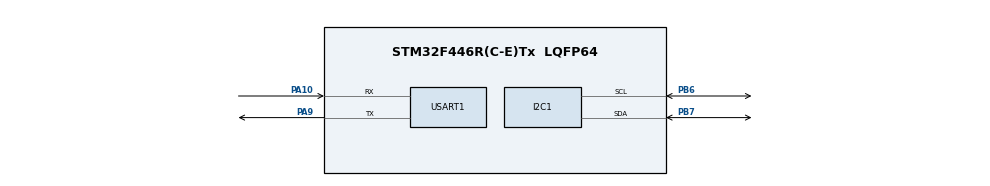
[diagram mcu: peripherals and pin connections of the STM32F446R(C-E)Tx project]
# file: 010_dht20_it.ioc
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Dma.I2C1_RX.0.Direction=DMA_PERIPH_TO_MEMORY
Dma.I2C1_RX.0.FIFOMode=DMA_FIFOMODE_DISABLE
Dma.I2C1_RX.0.Instance=DMA1_Stream0
Dma.I2C1_RX.0.MemDataAlignment=DMA_MDATAALIGN_BYTE
Dma.I2C1_RX.0.MemInc=DMA_MINC_ENABLE
Dma.I2C1_RX.0.Mode=DMA_NORMAL
Dma.I2C1_RX.0.PeriphDataAlignment=DMA_PDATAALIGN_BYTE
Dma.I2C1_RX.0.PeriphInc=DMA_PINC_DISABLE
Dma.I2C1_RX.0.Priority=DMA_PRIORITY_LOW
Dma.I2C1_TX.1.Direction=DMA_MEMORY_TO_PERIPH
Dma.I2C1_TX.1.FIFOMode=DMA_FIFOMODE_DISABLE
Dma.I2C1_TX.1.Instance=DMA1_Stream6
Dma.I2C1_TX.1.MemDataAlignment=DMA_MDATAALIGN_BYTE
Dma.I2C1_TX.1.MemInc=DMA_MINC_ENABLE
Dma.I2C1_TX.1.Mode=DMA_NORMAL
Dma.I2C1_TX.1.PeriphDataAlignment=DMA_PDATAALIGN_BYTE
Dma.I2C1_TX.1.PeriphInc=DMA_PINC_DISABLE
Dma.I2C1_TX.1.Priority=DMA_PRIORITY_LOW
Dma.Request0=I2C1_RX
Dma.Request1=I2C1_TX
Mcu.Family=STM32F4
Mcu.Name=STM32F446R(C-E)Tx
Mcu.Package=LQFP64
NVIC.DMA1_Stream0_IRQn=true\:0\:0\:false\:false\:true\:false\:true\:true
NVIC.DMA1_Stream6_IRQn=true\:0\:0\:false\:false\:true\:false\:true\:true
NVIC.I2C1_ER_IRQn=true\:0\:0\:false\:false\:true\:true\:true\:true
NVIC.I2C1_EV_IRQn=true\:0\:0\:false\:false\:true\:true\:true\:true
NVIC.PriorityGroup=NVIC_PRIORITYGROUP_4
NVIC.USART1_IRQn=true\:0\:0\:false\:false\:true\:true\:true\:true
PA10.Mode=Asynchronous
PA10.Signal=USART1_RX
PA9.Mode=Asynchronous
PA9.Signal=USART1_TX
PB6.Mode=I2C
PB6.Signal=I2C1_SCL
PB7.Mode=I2C
PB7.Signal=I2C1_SDA
ProjectManager.HeapSize=0x200
ProjectManager.StackSize=0x400
ProjectManager.TargetToolchain=STM32CubeIDE
RCC.CortexFreq_Value=16000000
RCC.USBFreq_Value=96000000
RCC.VCOOutputFreq_Value=192000000
USART1.VirtualMode=VM_ASYNC
board=custom

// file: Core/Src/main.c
/* USER CODE BEGIN Header */
/**
  ******************************************************************************
  * @file           : main.c
  * @brief          : Main program body
  ******************************************************************************
  * @attention
  *
  * Copyright (c) 2025 STMicroelectronics.
  * All rights reserved.
  *
  * This software is licensed under terms that can be found in the LICENSE file
  * in the root directory of this software component.
  * If no LICENSE file comes with this software, it is provided AS-IS.
  *
  ******************************************************************************
  */
/* USER CODE END Header */
#include "main.h"

/* USER CODE BEGIN Includes */
#include "driver_dht20.h"
#include "driver_dht20_interface.h"
/* USER CODE END Includes */

I2C_HandleTypeDef hi2c1;
DMA_HandleTypeDef hdma_i2c1_rx;
DMA_HandleTypeDef hdma_i2c1_tx;

UART_HandleTypeDef huart1;

/* USER CODE BEGIN PV */
RingBuffer txBuf, rxBuf;
dht20_handle_t dht20_handle;
/* USER CODE END PV */

void SystemClock_Config(void);
static void MX_GPIO_Init(void);
static void MX_DMA_Init(void);
static void MX_I2C1_Init(void);
static void MX_USART1_UART_Init(void);
/* USER CODE BEGIN PFP */
uint8_t dht20_basic_init(void);
uint8_t dht20_basic_deinit(void);
uint8_t dht20_basic_read(uint32_t *temperature_raw, float *temperature_s,
		uint32_t *humidity_raw, uint8_t *humidity_s);
/* USER CODE END PFP */

int main(void)
{

  /* USER CODE BEGIN 1 */
	  uint32_t temperature_raw, humidity_raw;
	  float temperature_s;
	  uint8_t humidity_s;
	  uint8_t res;
	  uint32_t last_read_time = 0;
	  uint32_t read_count = 0;
  /* USER CODE END 1 */

  /* MCU Configuration--------------------------------------------------------*/

  /* Reset of all peripherals, Initializes the Flash interface and the Systick. */
  HAL_Init();

  /* Configure the system clock */
  SystemClock_Config();

  /* Initialize all configured peripherals */
  MX_GPIO_Init();
  MX_DMA_Init();
  MX_I2C1_Init();
  MX_USART1_UART_Init();
  /* USER CODE BEGIN 2 */

  RingBuffer_Init(&txBuf);
  RingBuffer_Init(&rxBuf);

  dht20_interface_debug_print("\r\n=== DHT20 Temperature & Humidity Sensor (Interrupt Mode) ===\r\n");
  dht20_interface_debug_print("System Clock: %lu Hz\r\n", SystemCoreClock);
  dht20_interface_debug_print("I2C Mode: Interrupt-based\r\n");
  dht20_interface_debug_print("Initializing DHT20...\r\n");

  /* init DHT20 */
  res = dht20_basic_init();
  if (res != 0)
  {
    dht20_interface_debug_print("DHT20 initialization failed!\r\n");
    Error_Handler();
  }

  dht20_interface_debug_print("DHT20 initialized successfully!\r\n");
  dht20_interface_debug_print("Starting measurements...\r\n\r\n");
  /* USER CODE END 2 */

  /* Infinite loop */
  /* USER CODE BEGIN WHILE */
  while (1)
  {
	  /* read DHT20 every 2 seconds */
	  if (HAL_GetTick() - last_read_time >= 2000)
	  {
		  last_read_time = HAL_GetTick();
		  read_count++;

		  dht20_interface_debug_print("Reading #%lu...\r\n", (unsigned long)read_count);

		  /* read temp and humid */
		  uint32_t read_start_time = HAL_GetTick();
		  res = dht20_basic_read(&temperature_raw, &temperature_s, &humidity_raw, &humidity_s);
		  uint32_t read_duration = HAL_GetTick() - read_start_time;

		  if (res == 0)
		  {
			  /* results */
			  dht20_interface_debug_print("--- DHT20 Reading #%lu ---\r\n", (unsigned long)read_count);
			  dht20_interface_debug_print("Temperature: %.2f°C (Raw: %lu)\r\n",
					  temperature_s, (unsigned long)temperature_raw);
			  dht20_interface_debug_print("Humidity: %d%% (Raw: %lu)\r\n",
					  humidity_s, (unsigned long)humidity_raw);
			  dht20_interface_debug_print("Read Duration: %lu ms\r\n", (unsigned long)read_duration);
			  dht20_interface_debug_print("Timestamp: %lu ms\r\n", (unsigned long)HAL_GetTick());

			  /* Check for reasonable values */
			  if (temperature_s < -40.0f || temperature_s > 80.0f)
			  {
				  dht20_interface_debug_print("WARNING: Temperature out of expected range!\r\n");
			  }
			  if (humidity_s > 100)
			  {
				  dht20_interface_debug_print("WARNING: Humidity out of expected range!\r\n");
			  }

			  dht20_interface_debug_print("\r\n");
		  }
		  else
		  {
			  dht20_interface_debug_print("DHT20 read failed! Error code: %d\r\n", res);
			  dht20_interface_debug_print("Read Duration: %lu ms\r\n", (unsigned long)read_duration);
			  dht20_interface_debug_print("Attempting to continue...\r\n\r\n");
		  }
	  }

	  HAL_Delay(10);
    /* USER CODE END WHILE */

  }
}

void SystemClock_Config(void)
{
  RCC_OscInitTypeDef RCC_OscInitStruct = {0};
  RCC_ClkInitTypeDef RCC_ClkInitStruct = {0};

  /** Configure the main internal regulator output voltage
  */
  __HAL_RCC_PWR_CLK_ENABLE();
  __HAL_PWR_VOLTAGESCALING_CONFIG(PWR_REGULATOR_VOLTAGE_SCALE3);

  /** Initializes the RCC Oscillators according to the specified parameters
  * in the RCC_OscInitTypeDef structure.
  */
  RCC_OscInitStruct.OscillatorType = RCC_OSCILLATORTYPE_HSI;
  RCC_OscInitStruct.HSIState = RCC_HSI_ON;
  RCC_OscInitStruct.HSICalibrationValue = RCC_HSICALIBRATION_DEFAULT;
  RCC_OscInitStruct.PLL.PLLState = RCC_PLL_NONE;
  if (HAL_RCC_OscConfig(&RCC_OscInitStruct) != HAL_OK)
  {
    Error_Handler();
  }

  /** Initializes the CPU, AHB and APB buses clocks
  */
  RCC_ClkInitStruct.ClockType = RCC_CLOCKTYPE_HCLK|RCC_CLOCKTYPE_SYSCLK
                              |RCC_CLOCKTYPE_PCLK1|RCC_CLOCKTYPE_PCLK2;
  RCC_ClkInitStruct.SYSCLKSource = RCC_SYSCLKSOURCE_HSI;
  RCC_ClkInitStruct.AHBCLKDivider = RCC_SYSCLK_DIV1;
  RCC_ClkInitStruct.APB1CLKDivider = RCC_HCLK_DIV1;
  RCC_ClkInitStruct.APB2CLKDivider = RCC_HCLK_DIV1;

  if (HAL_RCC_ClockConfig(&RCC_ClkInitStruct, FLASH_LATENCY_0) != HAL_OK)
  {
    Error_Handler();
  }
}

static void MX_I2C1_Init(void)
{

  hi2c1.Instance = I2C1;
  hi2c1.Init.ClockSpeed = 100000;
  hi2c1.Init.DutyCycle = I2C_DUTYCYCLE_2;
  hi2c1.Init.OwnAddress1 = 0;
  hi2c1.Init.AddressingMode = I2C_ADDRESSINGMODE_7BIT;
  hi2c1.Init.DualAddressMode = I2C_DUALADDRESS_DISABLE;
  hi2c1.Init.OwnAddress2 = 0;
  hi2c1.Init.GeneralCallMode = I2C_GENERALCALL_DISABLE;
  hi2c1.Init.NoStretchMode = I2C_NOSTRETCH_DISABLE;
  if (HAL_I2C_Init(&hi2c1) != HAL_OK)
  {
    Error_Handler();
  }

}

static void MX_USART1_UART_Init(void)
{

  huart1.Instance = USART1;
  huart1.Init.BaudRate = 115200;
  huart1.Init.WordLength = UART_WORDLENGTH_8B;
  huart1.Init.StopBits = UART_STOPBITS_1;
  huart1.Init.Parity = UART_PARITY_NONE;
  huart1.Init.Mode = UART_MODE_TX_RX;
  huart1.Init.HwFlowCtl = UART_HWCONTROL_NONE;
  huart1.Init.OverSampling = UART_OVERSAMPLING_16;
  if (HAL_UART_Init(&huart1) != HAL_OK)
  {
    Error_Handler();
  }

}

static void MX_DMA_Init(void)
{

  /* DMA controller clock enable */
  __HAL_RCC_DMA1_CLK_ENABLE();

  /* DMA interrupt init */
  /* DMA1_Stream0_IRQn interrupt configuration */
  HAL_NVIC_SetPriority(DMA1_Stream0_IRQn, 0, 0);
  HAL_NVIC_EnableIRQ(DMA1_Stream0_IRQn);
  /* DMA1_Stream6_IRQn interrupt configuration */
  HAL_NVIC_SetPriority(DMA1_Stream6_IRQn, 0, 0);
  HAL_NVIC_EnableIRQ(DMA1_Stream6_IRQn);

}

static void MX_GPIO_Init(void)
{

  /* GPIO Ports Clock Enable */
  __HAL_RCC_GPIOA_CLK_ENABLE();
  __HAL_RCC_GPIOB_CLK_ENABLE();

}

/* USER CODE BEGIN 4 */
uint8_t UART_Transmit(UART_HandleTypeDef *huart, uint8_t *pData, uint16_t len)
{
  if (huart->gState == HAL_UART_STATE_READY)
  {
    if (HAL_UART_Transmit_IT(huart, pData, len) == HAL_OK)
    {
      return 1;
    }
  }

  // If UART is busy, store in ring buffer
  if (RingBuffer_Write(&txBuf, pData, len) == RING_BUFFER_OK)
  {
    return 1;
  }

  return 0;
}

uint8_t dht20_basic_init(void)
{
    uint8_t res;

    /* link interface function */
    DRIVER_DHT20_LINK_INIT(&dht20_handle, dht20_handle_t);
    DRIVER_DHT20_LINK_IIC_INIT(&dht20_handle, dht20_interface_iic_init);
    DRIVER_DHT20_LINK_IIC_DEINIT(&dht20_handle, dht20_interface_iic_deinit);
    DRIVER_DHT20_LINK_IIC_READ_CMD(&dht20_handle, dht20_interface_iic_read_cmd);
    DRIVER_DHT20_LINK_IIC_WRITE_CMD(&dht20_handle, dht20_interface_iic_write_cmd);
    DRIVER_DHT20_LINK_DELAY_MS(&dht20_handle, dht20_interface_delay_ms);
    DRIVER_DHT20_LINK_DEBUG_PRINT(&dht20_handle, dht20_interface_debug_print);

    /* dht20 init */
    res = dht20_init(&dht20_handle);
    if (res != 0)
    {
        dht20_interface_debug_print("dht20: init failed.\n");
        return 1;
    }

    return 0;
}

uint8_t dht20_basic_deinit(void)
{
    uint8_t res;

    /* close dht20 */
    res = dht20_deinit(&dht20_handle);
    if (res != 0)
    {
        return 1;
    }

    return 0;
}

uint8_t dht20_basic_read(uint32_t *temperature_raw, float *temperature_s,
		uint32_t *humidity_raw, uint8_t *humidity_s)
{
    uint8_t res;

    /* read temperature and humidity */
    res = dht20_read_temperature_humidity(&dht20_handle, temperature_raw, temperature_s,
                                          humidity_raw, humidity_s);
    if (res != 0)
    {
        return 1;
    }

    return 0;
}
/* USER CODE END 4 */

void Error_Handler(void)
{
  __disable_irq();
  while (1)
  {
  }
}
